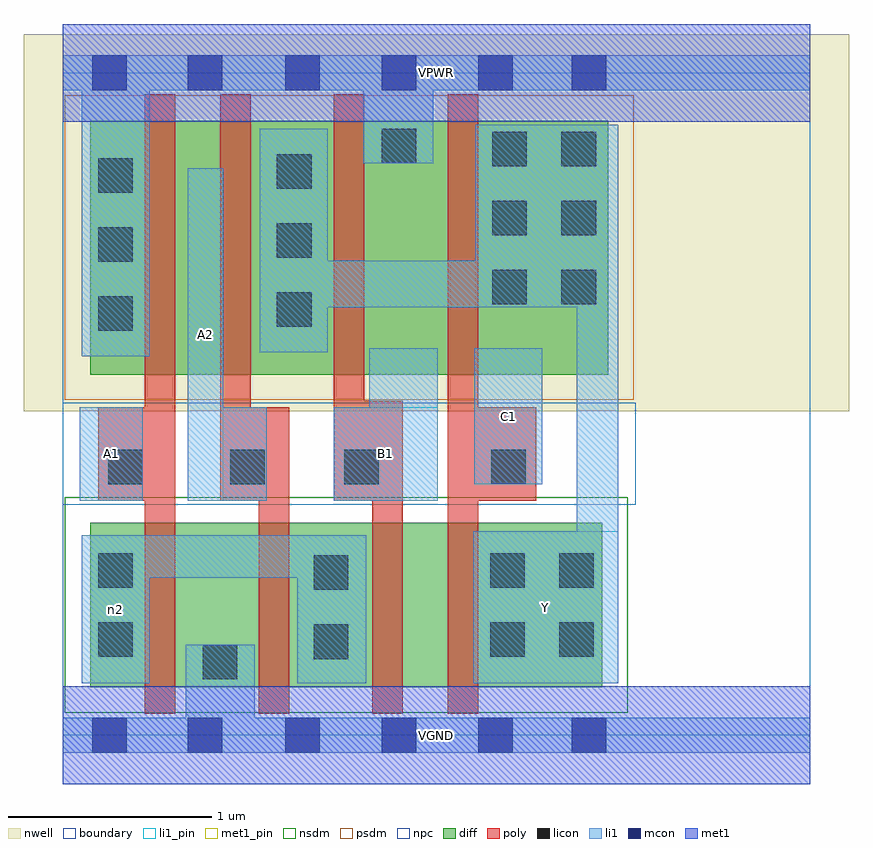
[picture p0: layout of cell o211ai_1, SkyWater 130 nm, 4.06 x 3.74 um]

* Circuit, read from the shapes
.subckt o211ai_1 A1 A2 B1 C1 VGND VPWR Y n2
XM1 VGND A1 n2 VSUBS sky130_fd_pr__nfet_01v8 w=0.81 l=0.15
XM2 n2 A2 VGND VSUBS sky130_fd_pr__nfet_01v8 w=0.81 l=0.15
XM3 n1 B1 n2 VSUBS sky130_fd_pr__nfet_01v8 w=0.81 l=0.15
XM4 Y C1 n1 VSUBS sky130_fd_pr__nfet_01v8 w=0.81 l=0.15
XM5 n3 A1 VPWR n4 sky130_fd_pr__pfet_01v8 w=1.25 l=0.15
XM6 Y A2 n3 n4 sky130_fd_pr__pfet_01v8 w=1.25 l=0.15
XM7 VPWR B1 Y n4 sky130_fd_pr__pfet_01v8 w=1.25 l=0.15
XM8 Y C1 VPWR n4 sky130_fd_pr__pfet_01v8 w=1.25 l=0.15
.ends

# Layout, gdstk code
import gdstk
lib = gdstk.Library(unit=1e-6, precision=1e-09)
def R(c, l, rs):  # rectangles x0, y0, x1, y1
    for r in rs: c.add(gdstk.rectangle(r[:2], r[2:], *l))
def A(c, l, x, y, w, h, nx, ny, dx, dy):  # array of equal rectangles
    R(c, l, [(x+i*dx, y+j*dy, x+i*dx+w, y+j*dy+h) for i in range(nx) for j in range(ny)])
nwell = (64, 20)
diff = (65, 20)
poly = (66, 20)
licon = (66, 44)
li1_pin = (67, 16)
li1 = (67, 20)
mcon = (67, 44)
met1_pin = (68, 16)
met1 = (68, 20)
nsdm = (93, 44)
psdm = (94, 20)
npc = (95, 20)
boundary = (235, 4)

o211ai_1 = lib.new_cell('o211ai_1')
R(o211ai_1, nwell, [(-0.19,1.595,3.87,3.45), (0,1.595,3.68,3.45)])
R(o211ai_1, diff, [(0.135,0.235,2.655,1.045), (0.135,1.775,2.685,3.025)])
R(o211ai_1, poly, [(0.405,0.105,0.555,3.155), (0.965,0.105,1.115,1.615), (1.525,0.105,1.675,1.645), (1.895,0.105,2.045,3.155), (0.175,1.155,0.555,1.615), (0.775,1.155,0.925,3.155), (0.775,1.155,1.115,1.615), (1.335,1.155,1.485,3.155), (1.335,1.155,1.675,1.645), (1.895,1.155,2.33,1.615)])
A(o211ai_1, licon, 0.175, 1.99, 0.17, 0.17, 1, 3, 0, 0.34)
A(o211ai_1, licon, 1.055, 2.01, 0.17, 0.17, 1, 3, 0, 0.34)
A(o211ai_1, licon, 2.115, 2.12, 0.17, 0.17, 1, 3, 0, 0.34)
A(o211ai_1, licon, 2.455, 2.12, 0.17, 0.17, 1, 3, 0, 0.34)
R(o211ai_1, licon, [(0.69,0.275,0.86,0.445), (1.235,0.375,1.405,0.545), (0.175,0.385,0.345,0.555), (2.105,0.385,2.275,0.555), (2.445,0.385,2.615,0.555), (1.235,0.715,1.405,0.885), (0.175,0.725,0.345,0.895), (2.105,0.725,2.275,0.895), (2.445,0.725,2.615,0.895), (0.225,1.235,0.395,1.405), (0.825,1.235,0.995,1.405), (1.385,1.235,1.555,1.405), (2.11,1.235,2.28,1.405), (1.57,2.815,1.74,2.985)])
R(o211ai_1, li1_pin, [(2.02,0.255,2.735,1.005), (0.085,1.155,0.395,1.615), (0.615,1.155,0.79,2.79), (1.335,1.155,1.845,1.615), (2.025,1.235,2.36,1.905)])
R(o211ai_1, li1, [(0,-0.085,3.68,0.085), (0.605,-0.085,0.945,0.445), (0.095,0.255,0.43,0.985), (1.155,0.255,1.495,0.985), (2.02,0.255,2.735,1.005), (2.53,0.255,2.735,3.005), (0.095,0.775,1.495,0.985), (0.085,1.155,0.395,1.615), (0.615,1.155,0.79,2.79), (0.615,1.155,1.005,1.615), (1.335,1.155,1.845,1.615), (1.51,1.155,1.845,1.905), (2.025,1.235,2.36,1.905), (0.095,1.865,0.43,3.345), (0.97,1.885,1.305,2.985), (0.97,2.105,2.735,2.335), (2.03,2.105,2.735,3.005), (1.48,2.815,1.825,3.345), (0,3.175,3.68,3.345)])
A(o211ai_1, mcon, 1.095, -0.085, 0.17, 0.17, 3, 2, 0.475, 3.26)
R(o211ai_1, mcon, [(0.145,-0.085,0.315,0.085), (0.615,-0.085,0.785,0.085), (2.505,-0.085,2.675,0.085), (0.145,3.175,0.315,3.345), (0.615,3.175,0.785,3.345), (2.505,3.175,2.675,3.345)])
R(o211ai_1, met1_pin, [(0,-0.24,3.68,0.24), (0,3.02,3.68,3.5)])
R(o211ai_1, met1, [(0,-0.24,3.68,0.24), (0,3.02,3.68,3.5)])
R(o211ai_1, nsdm, [(0.01,0.11,2.78,1.17)])
R(o211ai_1, psdm, [(0.01,1.65,2.81,3.15)])
R(o211ai_1, npc, [(0,1.135,2.82,1.635)])
R(o211ai_1, boundary, [(0,0,3.68,3.26)])
o211ai_1.add(gdstk.Label('A1', (0.24,1.385), layer=67, texttype=5))
o211ai_1.add(gdstk.Label('A2', (0.702,1.972), layer=67, texttype=5))
o211ai_1.add(gdstk.Label('B1', (1.59,1.385), layer=67, texttype=5))
o211ai_1.add(gdstk.Label('C1', (2.192,1.57), layer=67, texttype=5))
o211ai_1.add(gdstk.Label('Y', (2.377,0.63), layer=67, texttype=5))
o211ai_1.add(gdstk.Label('n2', (0.262,0.62), layer=67, texttype=5))
o211ai_1.add(gdstk.Label('VPWR', (1.84,3.26), layer=68, texttype=5))
o211ai_1.add(gdstk.Label('VGND', (1.84,0), layer=68, texttype=5))
o211ai_1.add(gdstk.Label('A1', (0.24,1.385), layer=67, texttype=16))
o211ai_1.add(gdstk.Label('A2', (0.702,1.972), layer=67, texttype=16))
o211ai_1.add(gdstk.Label('B1', (1.59,1.385), layer=67, texttype=16))
o211ai_1.add(gdstk.Label('C1', (2.192,1.57), layer=67, texttype=16))
o211ai_1.add(gdstk.Label('Y', (2.377,0.63), layer=67, texttype=16))
o211ai_1.add(gdstk.Label('VPWR', (1.84,3.26), layer=68, texttype=16))
o211ai_1.add(gdstk.Label('VGND', (1.84,0), layer=68, texttype=16))

lib.write_gds('o211ai_1.gds')
